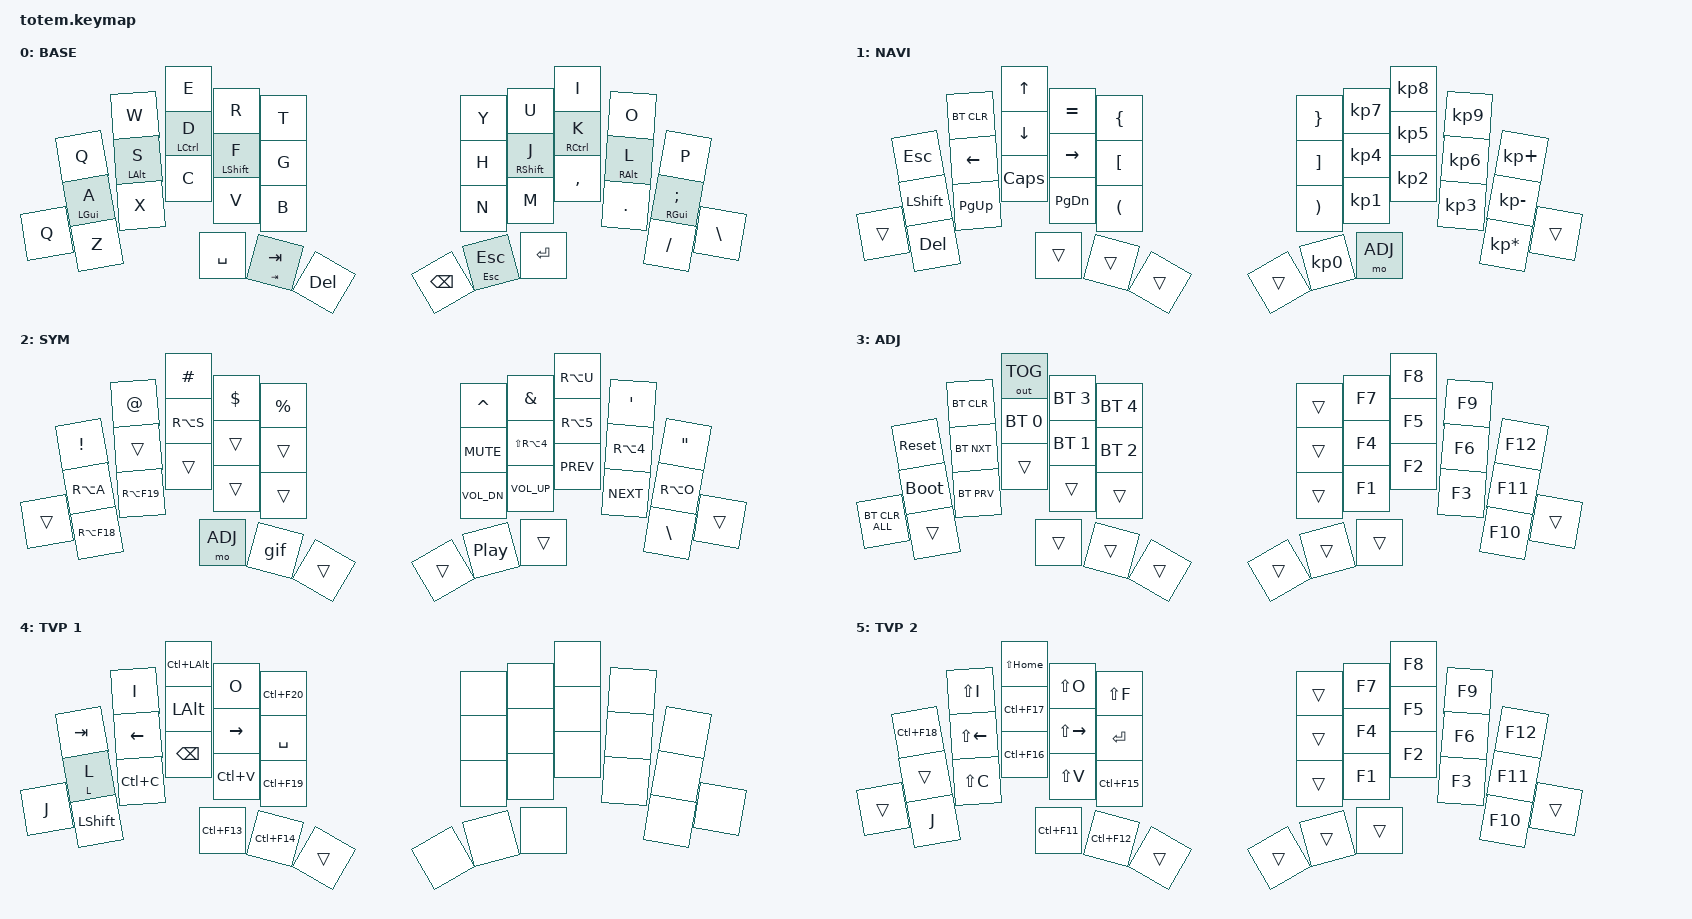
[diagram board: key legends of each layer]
//
//                                                        ▀▀▀▀▀     ▀▀▀▀▀          ▀▀█▀▀
//                                                        ▄▀▀▀▄  ▄  ▄▀▀▀▄  ▄  ▄▀▀▀▄  █  ▄▀▀▀▄
//                                                        █   █  █  █   █  █  █   █  █  █   █
//                                                         ▀▀▀   █   ▀▀▀   █   ▀▀▀   ▀   ▀▀▀
//                                                               █      ▄▄▄█▄▄▄    █   █  
//                                                               ▀      █  █  █     █▄█
//                                                             ▀▀▀▀▀    █  █  █      ▀
//                                                                      ▀  ▀  ▀
//
// ▄▄▄▄▄▄▄▄▄▄▄▄▄▄▄▄▄▄▄▄▄▄▄▄▄▄▄▄▄▄▄▄▄▄▄▄▄▄▄▄▄▄▄▄▄▄▄▄▄▄▄▄▄▄▄▄▄▄▄▄▄▄▄▄▄▄▄▄▄▄▄▄▄▄▄▄▄▄▄▄▄▄▄▄▄▄▄▄▄▄▄▄▄▄▄▄▄▄▄▄▄▄▄▄▄▄▄▄▄▄▄▄▄▄▄▄▄▄▄▄▄▄▄▄▄▄▄▄▄▄▄▄▄▄▄▄▄▄▄▄▄▄▄▄▄▄▄▄▄
       

#include <behaviors.dtsi>
#include <dt-bindings/zmk/keys.h>
#include <dt-bindings/zmk/bt.h>
#include <dt-bindings/zmk/outputs.h>

#define BASE 0
#define NAV  1
#define SYM  2
#define ADJ  3
#define TVP1 4
#define TVP2 5

&mt {
  quick-tap-ms = <100>;
  global-quick-tap;
  flavor = "tap-preferred";
  tapping-term-ms = <170>;
};

/ {
     combos {
            compatible = "zmk,combos";
            combo_esc {
                timeout-ms = <50>;
                key-positions = <0 1>;
                bindings = <&kp ESC>;
            };
            combo_tvp {
                timeout-ms = <100>;
                key-positions = <11 12 13>;
                bindings = <&tog TVP1>;
            };
    };

    macros {
        gif: gif {
            label = "giphy";
            compatible = "zmk,behavior-macro";
            #binding-cells = <0>;
            bindings
                = <&macro_press &kp LSHFT>
                , <&macro_tap &kp N2>
                , <&macro_release &kp LSHFT>
                , <&macro_tap &kp G &kp I &kp F>
                ;
        };

        hold_nav: hold_nav {
            compatible = "zmk,behavior-macro";
            #binding-cells = <0>;
            wait-ms = <0>;
            tap-ms = <0>;
            bindings
                = <&macro_press &mo NAV>
                , <&macro_pause_for_release>
                , <&macro_release &mo NAV>
                ;
        };

        hold_sym: hold_sym {
            compatible = "zmk,behavior-macro";
            #binding-cells = <0>;
            wait-ms = <0>;
            tap-ms = <0>;
            bindings
                = <&macro_press &mo SYM>
                , <&macro_pause_for_release>
                , <&macro_release &mo SYM>
                ;
        };

        hold_tvp2: hold_tvp2 {
            compatible = "zmk,behavior-macro";
            #binding-cells = <0>;
            wait-ms = <0>;
            tap-ms = <0>;
            bindings
                = <&macro_press &mo TVP2>
                , <&macro_pause_for_release>
                , <&macro_release &mo TVP2>
                ;
        };
    };

    // Layer-taps with the tap key as first param so ZMK Studio can label them.
    // Usage: &lt_nav TAB TAB (both params = tap key; layer is fixed).
    behaviors {
        lt_nav: lt_nav {
            compatible = "zmk,behavior-hold-tap";
            display-name = "Nav";
            #binding-cells = <2>;
            flavor = "tap-preferred";
            tapping-term-ms = <200>;
            bindings = <&hold_nav>, <&kp>;
        };

        lt_sym: lt_sym {
            compatible = "zmk,behavior-hold-tap";
            display-name = "Sym";
            #binding-cells = <2>;
            flavor = "tap-preferred";
            tapping-term-ms = <200>;
            bindings = <&hold_sym>, <&kp>;
        };

        lt_tvp2: lt_tvp2 {
            compatible = "zmk,behavior-hold-tap";
            display-name = "TVP2";
            #binding-cells = <2>;
            flavor = "tap-preferred";
            tapping-term-ms = <200>;
            bindings = <&hold_tvp2>, <&kp>;
        };
    };

        keymap {
                compatible = "zmk,keymap";
// ▄▄▄▄▄▄▄▄▄▄▄▄▄▄▄▄▄▄▄▄▄▄▄▄▄▄▄▄▄▄▄▄▄▄▄▄▄▄▄▄▄▄▄▄▄▄▄▄▄▄▄▄▄▄▄▄▄▄▄▄▄▄▄▄▄▄▄▄▄▄▄▄▄▄▄▄▄▄▄▄▄▄▄▄▄▄▄▄▄▄▄▄▄▄▄▄▄▄▄▄▄▄▄▄▄▄▄▄▄▄▄▄▄▄▄▄▄▄▄▄▄▄▄▄▄▄▄▄▄▄▄▄▄▄▄▄▄▄▄▄▄▄▄▄▄▄▄▄▄

                base_layer {
// ┏━━━━━━━━━━━━━━━━━━━━━━━━━━━━━━━━━━━━━━━┓
label= "BASE"                              ;
// ┗━━━━━━━━━━━━━━━━━━━━━━━━━━━━━━━━━━━━━━━┛
//             ┏━━━━━━━━━━━┳━━━━━━━━━━━┳━━━━━━━━━━━┳━━━━━━━━━━━┳━━━━━━━━━━━┓   ┏━━━━━━━━━━━┳━━━━━━━━━━━┳━━━━━━━━━━━┳━━━━━━━━━━━┳━━━━━━━━━━━┓
//             ┃     Q     ┃     W     ┃     E     ┃     R     ┃     T     ┃   ┃     Y     ┃     U     ┃     I     ┃     O     ┃     P     ┃
//             ┣━━━━━━━━━━━╋━━━━━━━━━━━╋━━━━━━━━━━━╋━━━━━━━━━━━╋━━━━━━━━━━━┫   ┣━━━━━━━━━━━╋━━━━━━━━━━━╋━━━━━━━━━━━╋━━━━━━━━━━━╋━━━━━━━━━━━┫
//             ┃     A     ┃     S     ┃     D     ┃     F     ┃     G     ┃   ┃     H     ┃     J     ┃     K     ┃     L     ┃     ;     ┃
// ┏━━━━━━━━━━━╋━━━━━━━━━━━╋━━━━━━━━━━━╋━━━━━━━━━━━╋━━━━━━━━━━━╋━━━━━━━━━━━┫   ┣━━━━━━━━━━━╋━━━━━━━━━━━╋━━━━━━━━━━━╋━━━━━━━━━━━╋━━━━━━━━━━━╋━━━━━━━━━━━┓
// ┃     Q     ┃     Z     ┃     X     ┃     C     ┃     V     ┃     B     ┃   ┃     N     ┃     M     ┃     ,     ┃     .     ┃     /     ┃     \     ┃
// ┗━━━━━━━━━━━┻━━━━━━━━━━━┻━━━━━━━━━━━╋━━━━━━━━━━━╋━━━━━━━━━━━╋━━━━━━━━━━━┫   ┣━━━━━━━━━━━╋━━━━━━━━━━━╋━━━━━━━━━━━╋━━━━━━━━━━━┻━━━━━━━━━━━┻━━━━━━━━━━━┛
//                                     ┃    DEL    ┃    TAB    ┃    SPC    ┃   ┃   ENTER   ┃           ┃   BSPC    ┃
//                                     ┗━━━━━━━━━━━┻━━━━━━━━━━━┻━━━━━━━━━━━┛   ┗━━━━━━━━━━━┻━━━━━━━━━━━┻━━━━━━━━━━━┛
 bindings = <
// ╷           ╷           ╷           ╷           ╷           ╷           ╷   ╷           ╷           ╷           ╷           ╷           ╷           ╷

                &kp Q       &kp W       &kp E       &kp R       &kp T           &kp Y       &kp U       &kp I       &kp O       &kp P
                &mt LGUI A  &mt LALT S  &mt LCTRL D &mt LSHFT F &kp G           &kp H       &mt RSHFT J &mt RCTRL K &mt RALT L  &mt RGUI SEMI
    &kp Q       &kp Z       &kp X       &kp C       &kp V       &kp B           &kp N       &kp M       &kp COMMA   &kp DOT     &kp FSLH    &kp BSLH
                                        &kp DEL   &lt_nav TAB TAB &kp SPACE       &kp RET   &lt_sym ESC ESC &kp BSPC
                        >;
                };

// ▄▄▄▄▄▄▄▄▄▄▄▄▄▄▄▄▄▄▄▄▄▄▄▄▄▄▄▄▄▄▄▄▄▄▄▄▄▄▄▄▄▄▄▄▄▄▄▄▄▄▄▄▄▄▄▄▄▄▄▄▄▄▄▄▄▄▄▄▄▄▄▄▄▄▄▄▄▄▄▄▄▄▄▄▄▄▄▄▄▄▄▄▄▄▄▄▄▄▄▄▄▄▄▄▄▄▄▄▄▄▄▄▄▄▄▄▄▄▄▄▄▄▄▄▄▄▄▄▄▄▄▄▄▄▄▄▄▄▄▄▄▄▄▄▄▄▄▄▄


                nav_layer {
// ┏━━━━━━━━━━━━━━━━━━━━━━━━━━━━━━━━━━━━━━━┓
label= "NAVI"                              ;
// ┗━━━━━━━━━━━━━━━━━━━━━━━━━━━━━━━━━━━━━━━┛
//             ┏━━━━━━━━━━━┳━━━━━━━━━━━┳━━━━━━━━━━━┳━━━━━━━━━━━┳━━━━━━━━━━━┓   ┏━━━━━━━━━━━┳━━━━━━━━━━━┳━━━━━━━━━━━┳━━━━━━━━━━━┳━━━━━━━━━━━┓
//             ┃           ┃           ┃     UP    ┃           ┃     {     ┃   ┃     }     ┃     7     ┃     8     ┃     9     ┃     +     ┃
//             ┣━━━━━━━━━━━╋━━━━━━━━━━━╋━━━━━━━━━━━╋━━━━━━━━━━━╋━━━━━━━━━━━┫   ┣━━━━━━━━━━━╋━━━━━━━━━━━╋━━━━━━━━━━━╋━━━━━━━━━━━╋━━━━━━━━━━━┫
//             ┃   SHIFT   ┃   LEFT    ┃    DOWN   ┃   RIGHT   ┃     [     ┃   ┃     ]     ┃     4     ┃     5     ┃     6     ┃     -     ┃
// ┏━━━━━━━━━━━╋━━━━━━━━━━━╋━━━━━━━━━━━╋━━━━━━━━━━━╋━━━━━━━━━━━╋━━━━━━━━━━━┫   ┣━━━━━━━━━━━╋━━━━━━━━━━━╋━━━━━━━━━━━╋━━━━━━━━━━━╋━━━━━━━━━━━╋━━━━━━━━━━━┓
// ┃           ┃           ┃   P UP    ┃  C LOCK   ┃  P DOWN   ┃     (     ┃   ┃     )     ┃     1     ┃     2     ┃     3     ┃     *     ┃           ┃
// ┗━━━━━━━━━━━┻━━━━━━━━━━━┻━━━━━━━━━━━╋━━━━━━━━━━━╋━━━━━━━━━━━╋━━━━━━━━━━━┫   ┣━━━━━━━━━━━╋━━━━━━━━━━━╋━━━━━━━━━━━╋━━━━━━━━━━━┻━━━━━━━━━━━┻━━━━━━━━━━━┛
//                                     ┃           ┃    TAB    ┃    SPC    ┃   ┃    DEL    ┃     0     ┃           ┃
//                                     ┗━━━━━━━━━━━┻━━━━━━━━━━━┻━━━━━━━━━━━┛   ┗━━━━━━━━━━━┻━━━━━━━━━━━┻━━━━━━━━━━━┛
 bindings = <
// ╷           ╷           ╷           ╷           ╷           ╷           ╷   ╷           ╷           ╷           ╷           ╷           ╷           ╷

                &kp ESC     &bt BT_CLR  &kp UP      &kp EQUAL   &kp LBRC        &kp RBRC    &kp KP_N7   &kp KP_N8   &kp KP_N9   &kp KP_PLUS
                &kp LSHFT   &kp LEFT    &kp DOWN    &kp RIGHT   &kp LBKT        &kp RBKT    &kp KP_N4   &kp KP_N5   &kp KP_N6   &kp KP_MINUS
    &trans      &kp DEL     &kp PG_UP   &kp CAPS    &kp PG_DN   &kp LPAR        &kp RPAR    &kp KP_N1   &kp KP_N2   &kp KP_N3   &kp KP_MULTIPLY &trans      
                                        &trans      &trans      &trans          &mo ADJ     &kp KP_N0   &trans      
                        >;
                };

// ▄▄▄▄▄▄▄▄▄▄▄▄▄▄▄▄▄▄▄▄▄▄▄▄▄▄▄▄▄▄▄▄▄▄▄▄▄▄▄▄▄▄▄▄▄▄▄▄▄▄▄▄▄▄▄▄▄▄▄▄▄▄▄▄▄▄▄▄▄▄▄▄▄▄▄▄▄▄▄▄▄▄▄▄▄▄▄▄▄▄▄▄▄▄▄▄▄▄▄▄▄▄▄▄▄▄▄▄▄▄▄▄▄▄▄▄▄▄▄▄▄▄▄▄▄▄▄▄▄▄▄▄▄▄▄▄▄▄▄▄▄▄▄▄▄▄▄▄▄


                sim_layer {
// ┏━━━━━━━━━━━━━━━━━━━━━━━━━━━━━━━━━━━━━━━┓
label= "SYM"                               ;
// ┗━━━━━━━━━━━━━━━━━━━━━━━━━━━━━━━━━━━━━━━┛
//             ┏━━━━━━━━━━━┳━━━━━━━━━━━┳━━━━━━━━━━━┳━━━━━━━━━━━┳━━━━━━━━━━━┓   ┏━━━━━━━━━━━┳━━━━━━━━━━━┳━━━━━━━━━━━┳━━━━━━━━━━━┳━━━━━━━━━━━┓
//             ┃     !     ┃     @     ┃     #     ┃     $     ┃     %     ┃   ┃     ˆ     ┃     &     ┃     Ü     ┃     '     ┃     "     ┃
//             ┣━━━━━━━━━━━╋━━━━━━━━━━━╋━━━━━━━━━━━╋━━━━━━━━━━━╋━━━━━━━━━━━┫   ┣━━━━━━━━━━━╋━━━━━━━━━━━╋━━━━━━━━━━━╋━━━━━━━━━━━╋━━━━━━━━━━━┫
//             ┃     Ä     ┃           ┃    SZ     ┃           ┃           ┃   ┃   MUTE    ┃   YEN     ┃   EURO    ┃  POUND    ┃     Ö     ┃
// ┏━━━━━━━━━━━╋━━━━━━━━━━━╋━━━━━━━━━━━╋━━━━━━━━━━━╋━━━━━━━━━━━╋━━━━━━━━━━━┫   ┣━━━━━━━━━━━╋━━━━━━━━━━━╋━━━━━━━━━━━╋━━━━━━━━━━━╋━━━━━━━━━━━╋━━━━━━━━━━━┓
// ┃           ┃  EMAIL1   ┃  EMAIL2   ┃           ┃           ┃           ┃   ┃   VOL-    ┃   VOL+    ┃   LAST    ┃   NEXT    ┃     \     ┃           ┃
// ┗━━━━━━━━━━━┻━━━━━━━━━━━┻━━━━━━━━━━━╋━━━━━━━━━━━╋━━━━━━━━━━━╋━━━━━━━━━━━┫   ┣━━━━━━━━━━━╋━━━━━━━━━━━╋━━━━━━━━━━━╋━━━━━━━━━━━┻━━━━━━━━━━━┻━━━━━━━━━━━┛
//                                     ┃           ┃    GIF    ┃    ADJ    ┃   ┃           ┃           ┃           ┃
//                                     ┗━━━━━━━━━━━┻━━━━━━━━━━━┻━━━━━━━━━━━┛   ┗━━━━━━━━━━━┻━━━━━━━━━━━┻━━━━━━━━━━━┛
 bindings = <
// ╷           ╷           ╷           ╷           ╷           ╷           ╷   ╷           ╷           ╷           ╷           ╷           ╷           ╷

                &kp EXCL    &kp AT      &kp HASH    &kp DLLR    &kp PRCNT       &kp CARET   &kp AMPS    &kp RA(U)   &kp SQT     &kp DQT       
                &kp RA(A)   &trans      &kp RA(S)   &trans      &trans          &kp C_MUTE  &kp LS(RA(N4)) &kp RA(N5) &kp RA(N4)   &kp RA(O) 
    &trans      &kp RA(F18) &kp RA(F19) &trans      &trans      &trans          &kp C_VOL_DN &kp C_VOL_UP &kp C_PREV &kp C_NEXT  &kp BSLH   &trans         
                                        &trans      &gif        &mo ADJ         &trans      &kp C_PP    &trans      
                        >;
                };

// ▄▄▄▄▄▄▄▄▄▄▄▄▄▄▄▄▄▄▄▄▄▄▄▄▄▄▄▄▄▄▄▄▄▄▄▄▄▄▄▄▄▄▄▄▄▄▄▄▄▄▄▄▄▄▄▄▄▄▄▄▄▄▄▄▄▄▄▄▄▄▄▄▄▄▄▄▄▄▄▄▄▄▄▄▄▄▄▄▄▄▄▄▄▄▄▄▄▄▄▄▄▄▄▄▄▄▄▄▄▄▄▄▄▄▄▄▄▄▄▄▄▄▄▄▄▄▄▄▄▄▄▄▄▄▄▄▄▄▄▄▄▄▄▄▄▄▄▄▄


                adjust_layer {
// ┏━━━━━━━━━━━━━━━━━━━━━━━━━━━━━━━━━━━━━━━┓
label= "ADJ"                               ;
// ┗━━━━━━━━━━━━━━━━━━━━━━━━━━━━━━━━━━━━━━━┛
//             ┏━━━━━━━━━━━┳━━━━━━━━━━━┳━━━━━━━━━━━┳━━━━━━━━━━━┳━━━━━━━━━━━┓   ┏━━━━━━━━━━━┳━━━━━━━━━━━┳━━━━━━━━━━━┳━━━━━━━━━━━┳━━━━━━━━━━━┓
//             ┃   RESET   ┃ BT CLEAR  ┃  OUT TOG  ┃   BT 3    ┃   BT 4    ┃   ┃           ┃    F7     ┃    F8     ┃    F9     ┃    F12    ┃
//             ┣━━━━━━━━━━━╋━━━━━━━━━━━╋━━━━━━━━━━━╋━━━━━━━━━━━╋━━━━━━━━━━━┫   ┣━━━━━━━━━━━╋━━━━━━━━━━━╋━━━━━━━━━━━╋━━━━━━━━━━━╋━━━━━━━━━━━┫
//             ┃ BOOTLOAD  ┃ BT NEXT   ┃ BT SEL 0  ┃ BT SEL 1  ┃ BT SEL 2  ┃   ┃           ┃    F4     ┃    F5     ┃    F6     ┃    F11    ┃
// ┏━━━━━━━━━━━╋━━━━━━━━━━━╋━━━━━━━━━━━╋━━━━━━━━━━━╋━━━━━━━━━━━╋━━━━━━━━━━━┫   ┣━━━━━━━━━━━╋━━━━━━━━━━━╋━━━━━━━━━━━╋━━━━━━━━━━━╋━━━━━━━━━━━╋━━━━━━━━━━━┓
// ┃ BT CLRALL ┃           ┃ BT PREV   ┃           ┃           ┃           ┃   ┃           ┃    F1     ┃    F2     ┃    F3     ┃    F10    ┃           ┃
// ┗━━━━━━━━━━━┻━━━━━━━━━━━┻━━━━━━━━━━━╋━━━━━━━━━━━╋━━━━━━━━━━━╋━━━━━━━━━━━┫   ┣━━━━━━━━━━━╋━━━━━━━━━━━╋━━━━━━━━━━━╋━━━━━━━━━━━┻━━━━━━━━━━━┻━━━━━━━━━━━┛
//                                     ┃           ┃           ┃           ┃   ┃           ┃           ┃           ┃
//                                     ┗━━━━━━━━━━━┻━━━━━━━━━━━┻━━━━━━━━━━━┛   ┗━━━━━━━━━━━┻━━━━━━━━━━━┻━━━━━━━━━━━┛
 bindings = <
// ╷           ╷           ╷           ╷           ╷           ╷           ╷   ╷           ╷           ╷           ╷           ╷           ╷           ╷

                &sys_reset  &bt BT_CLR &out OUT_TOG &bt BT_SEL 3 &bt BT_SEL 4    &trans      &kp F7      &kp F8      &kp F9      &kp F12
                &bootloader &bt BT_NXT  &bt BT_SEL 0 &bt BT_SEL 1 &bt BT_SEL 2  &trans      &kp F4      &kp F5      &kp F6      &kp F11  
    &bt BT_CLR_ALL &trans   &bt BT_PRV  &trans      &trans      &trans          &trans      &kp F1      &kp F2      &kp F3      &kp F10     &trans         
                                        &trans      &trans      &trans          &trans      &trans      &trans      
                        >;
                };

// ▄▄▄▄▄▄▄▄▄▄▄▄▄▄▄▄▄▄▄▄▄▄▄▄▄▄▄▄▄▄▄▄▄▄▄▄▄▄▄▄▄▄▄▄▄▄▄▄▄▄▄▄▄▄▄▄▄▄▄▄▄▄▄▄▄▄▄▄▄▄▄▄▄▄▄▄▄▄▄▄▄▄▄▄▄▄▄▄▄▄▄▄▄▄▄▄▄▄▄▄▄▄▄▄▄▄▄▄▄▄▄▄▄▄▄▄▄▄▄▄▄▄▄▄▄▄▄▄▄▄▄▄▄▄▄▄▄▄▄▄▄▄▄▄▄▄▄▄▄


                tvp1_layer {
// ┏━━━━━━━━━━━━━━━━━━━━━━━━━━━━━━━━━━━━━━━┓
label= "TVP 1"                             ;
// ┗━━━━━━━━━━━━━━━━━━━━━━━━━━━━━━━━━━━━━━━┛
//             ┏━━━━━━━━━━━┳━━━━━━━━━━━┳━━━━━━━━━━━┳━━━━━━━━━━━┳━━━━━━━━━━━┓   ┏━━━━━━━━━━━┳━━━━━━━━━━━┳━━━━━━━━━━━┳━━━━━━━━━━━┳━━━━━━━━━━━┓
//             ┃ NEXT FILE ┃ MARK IN   ┃ ROTATE    ┃ MARK OUT  ┃ SHOW SNAP ┃   ┃           ┃           ┃           ┃           ┃           ┃
//             ┣━━━━━━━━━━━╋━━━━━━━━━━━╋━━━━━━━━━━━╋━━━━━━━━━━━╋━━━━━━━━━━━┫   ┣━━━━━━━━━━━╋━━━━━━━━━━━╋━━━━━━━━━━━╋━━━━━━━━━━━╋━━━━━━━━━━━┫
//             ┃ TVP II    ┃ LEFT      ┃ PAN       ┃ RIGHT     ┃ PLAY/FLIP ┃   ┃           ┃           ┃           ┃           ┃           ┃
// ┏━━━━━━━━━━━╋━━━━━━━━━━━╋━━━━━━━━━━━╋━━━━━━━━━━━╋━━━━━━━━━━━╋━━━━━━━━━━━┫   ┣━━━━━━━━━━━╋━━━━━━━━━━━╋━━━━━━━━━━━╋━━━━━━━━━━━╋━━━━━━━━━━━╋━━━━━━━━━━━┓
// ┃ FULLSCR   ┃ SHIFT     ┃ COPY      ┃ DELETE    ┃ PASTE     ┃ IMG MARK  ┃   ┃           ┃           ┃           ┃           ┃           ┃           ┃
// ┗━━━━━━━━━━━┻━━━━━━━━━━━┻━━━━━━━━━━━╋━━━━━━━━━━━╋━━━━━━━━━━━╋━━━━━━━━━━━┫   ┣━━━━━━━━━━━╋━━━━━━━━━━━╋━━━━━━━━━━━╋━━━━━━━━━━━┻━━━━━━━━━━━┻━━━━━━━━━━━┛
//                                     ┃           ┃ UNDO/SAVE ┃  SEL/MOV  ┃   ┃           ┃           ┃           ┃
//                                     ┗━━━━━━━━━━━┻━━━━━━━━━━━┻━━━━━━━━━━━┛   ┗━━━━━━━━━━━┻━━━━━━━━━━━┻━━━━━━━━━━━┛
 bindings = <
// ╷           ╷           ╷           ╷           ╷           ╷           ╷   ╷           ╷           ╷           ╷           ╷           ╷           ╷

                &kp TAB     &kp I       &kp LC(LALT) &kp O      &kp LC(F20)     &none       &none       &none       &none       &none
                &lt_tvp2 L L &kp LEFT    &kp LALT    &kp RIGHT   &kp SPACE       &none       &none       &none       &none       &none
    &kp J       &kp LSHFT   &kp LC(C)   &kp BSPC    &kp LC(V)   &kp LC(F19)     &none       &none       &none       &none       &none       &none        
                                        &trans      &kp LC(F14) &kp LC(F13)     &none       &none       &none    
                        >;
                };

// ▄▄▄▄▄▄▄▄▄▄▄▄▄▄▄▄▄▄▄▄▄▄▄▄▄▄▄▄▄▄▄▄▄▄▄▄▄▄▄▄▄▄▄▄▄▄▄▄▄▄▄▄▄▄▄▄▄▄▄▄▄▄▄▄▄▄▄▄▄▄▄▄▄▄▄▄▄▄▄▄▄▄▄▄▄▄▄▄▄▄▄▄▄▄▄▄▄▄▄▄▄▄▄▄▄▄▄▄▄▄▄▄▄▄▄▄▄▄▄▄▄▄▄▄▄▄▄▄▄▄▄▄▄▄▄▄▄▄▄▄▄▄▄▄▄▄▄▄▄


                tvp2_layer {
// ┏━━━━━━━━━━━━━━━━━━━━━━━━━━━━━━━━━━━━━━━┓
label= "TVP 2"                             ;
// ┗━━━━━━━━━━━━━━━━━━━━━━━━━━━━━━━━━━━━━━━┛
//             ┏━━━━━━━━━━━┳━━━━━━━━━━━┳━━━━━━━━━━━┳━━━━━━━━━━━┳━━━━━━━━━━━┓   ┏━━━━━━━━━━━┳━━━━━━━━━━━┳━━━━━━━━━━━┳━━━━━━━━━━━┳━━━━━━━━━━━┓
//             ┃ SOLO      ┃ TOGGLE IN ┃ RESET ROT ┃ TOGGLE OUT┃ TAKE SNAP ┃   ┃           ┃           ┃           ┃           ┃           ┃
//             ┣━━━━━━━━━━━╋━━━━━━━━━━━╋━━━━━━━━━━━╋━━━━━━━━━━━╋━━━━━━━━━━━┫   ┣━━━━━━━━━━━╋━━━━━━━━━━━╋━━━━━━━━━━━╋━━━━━━━━━━━╋━━━━━━━━━━━┫
//             ┃ ---       ┃ LAST KEY  ┃ NEW KEY   ┃ NEXT KEY  ┃ ENTER     ┃   ┃           ┃           ┃           ┃           ┃           ┃
// ┏━━━━━━━━━━━╋━━━━━━━━━━━╋━━━━━━━━━━━╋━━━━━━━━━━━╋━━━━━━━━━━━╋━━━━━━━━━━━┫   ┣━━━━━━━━━━━╋━━━━━━━━━━━╋━━━━━━━━━━━╋━━━━━━━━━━━╋━━━━━━━━━━━╋━━━━━━━━━━━┓
// ┃           ┃ FULLSCR   ┃ CPY2BRUSH ┃ DEL HEAD  ┃ PSTinPLACE┃ BOOK MARK ┃   ┃           ┃           ┃           ┃           ┃           ┃           ┃
// ┗━━━━━━━━━━━┻━━━━━━━━━━━┻━━━━━━━━━━━╋━━━━━━━━━━━╋━━━━━━━━━━━╋━━━━━━━━━━━┫   ┣━━━━━━━━━━━╋━━━━━━━━━━━╋━━━━━━━━━━━╋━━━━━━━━━━━┻━━━━━━━━━━━┻━━━━━━━━━━━┛
//                                     ┃           ┃ REDO/SAV1 ┃TRANS/WARP ┃   ┃           ┃           ┃           ┃
//                                     ┗━━━━━━━━━━━┻━━━━━━━━━━━┻━━━━━━━━━━━┛   ┗━━━━━━━━━━━┻━━━━━━━━━━━┻━━━━━━━━━━━┛
 bindings = <
// ╷           ╷           ╷           ╷           ╷           ╷           ╷   ╷           ╷           ╷           ╷           ╷           ╷           ╷

                &kp LC(F18) &kp LS(I)  &kp LS(HOME) &kp LS(O)   &kp LS(F)       &trans      &kp F7      &kp F8      &kp F9      &kp F12
                &trans      &kp LS(LEFT) &kp LC(F17) &kp LS(RIGHT) &kp RET      &trans      &kp F4      &kp F5      &kp F6      &kp F11  
    &trans      &kp J       &kp LS(C)   &kp LC(F16) &kp LS(V)   &kp LC(F15)     &trans      &kp F1      &kp F2      &kp F3      &kp F10     &trans         
                                        &trans      &kp LC(F12) &kp LC(F11)     &trans      &trans      &trans      
                        >;
                };
        };
};
